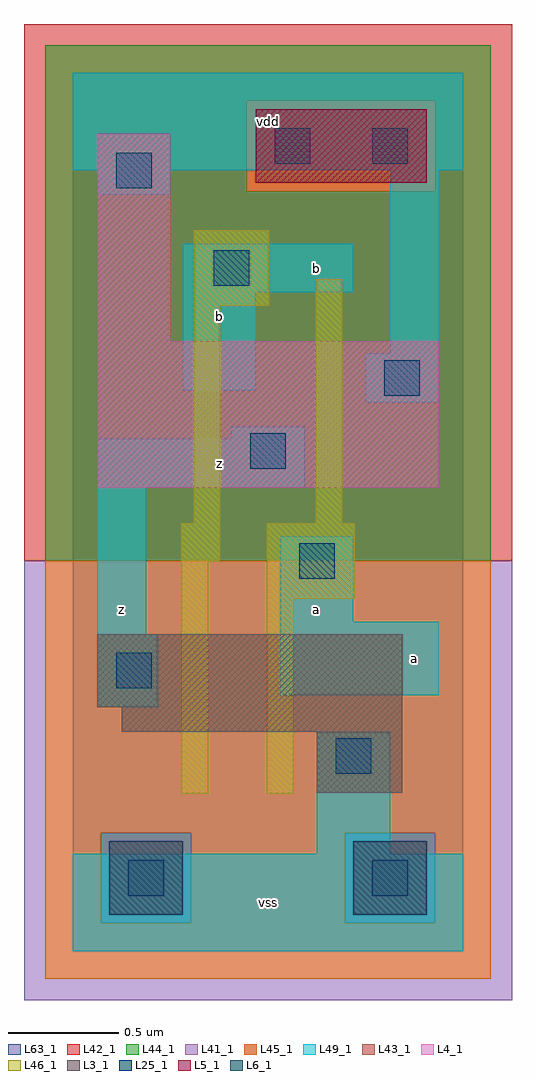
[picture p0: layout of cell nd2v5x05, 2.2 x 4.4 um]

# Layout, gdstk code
import gdstk
lib = gdstk.Library(unit=1e-6, precision=1e-09)
def R(c, l, rs):  # rectangles x0, y0, x1, y1
    for r in rs: c.add(gdstk.rectangle(r[:2], r[2:], *l))
L3_1 = (3, 1)
L4_1 = (4, 1)
L5_1 = (5, 1)
L6_1 = (6, 1)
L25_1 = (25, 1)
L41_1 = (41, 1)
L42_1 = (42, 1)
L43_1 = (43, 1)
L44_1 = (44, 1)
L45_1 = (45, 1)
L46_1 = (46, 1)
L49_1 = (49, 1)
L63_1 = (63, 1)

nd2v5x05 = lib.new_cell('nd2v5x05')
R(nd2v5x05, L3_1, [(1.1,0.715,1.485,0.99), (0.22,0.99,1.485,1.1), (0.11,1.1,1.485,1.43)])
R(nd2v5x05, L4_1, [(0.11,2.09,1.65,2.75), (0.11,2.75,0.44,3.685)])
R(nd2v5x05, L5_1, [(0.825,3.465,1.595,3.795)])
R(nd2v5x05, L6_1, [(0.165,0.165,0.495,0.495), (1.265,0.165,1.595,0.495)])
R(nd2v5x05, L25_1, [(0.25,0.25,0.41,0.41), (1.35,0.25,1.51,0.41), (1.185,0.8,1.345,0.96), (0.195,1.185,0.355,1.345), (1.02,1.68,1.18,1.84), (0.8,2.175,0.96,2.335), (1.405,2.505,1.565,2.665), (0.635,3,0.795,3.16), (0.195,3.44,0.355,3.6), (0.91,3.55,1.07,3.71), (1.35,3.55,1.51,3.71)])
R(nd2v5x05, L41_1, [(-0.22,-0.22,1.98,1.76)])
R(nd2v5x05, L42_1, [(-0.22,1.76,1.98,4.18)])
R(nd2v5x05, L43_1, [(0.165,0.165,0.495,0.495), (1.265,0.165,1.595,0.495), (1.1,0.715,1.485,0.99), (0.22,0.99,1.485,1.1), (0.11,1.1,1.485,1.43), (0.11,2.09,1.65,2.75), (0.11,2.75,0.44,3.685), (0.825,3.465,1.595,3.795)])
R(nd2v5x05, L44_1, [(0.125,0.125,0.535,0.535), (1.225,0.125,1.635,0.535), (-0.125,1.76,1.885,3.425), (-0.125,3.425,0.785,3.835), (1.635,3.425,1.885,3.835), (-0.125,3.835,1.885,4.085)])
R(nd2v5x05, L45_1, [(-0.125,-0.125,1.885,0.125), (-0.125,0.125,0.125,0.535), (0.535,0.125,1.225,0.535), (1.635,0.125,1.885,0.535), (-0.125,0.535,1.885,1.76), (0.785,3.425,1.635,3.835)])
R(nd2v5x05, L46_1, [(0.49,0.71,0.61,1.755), (0.875,0.71,0.995,1.59), (0.875,1.59,1.27,1.93), (0.49,1.755,0.665,1.93), (0.545,1.93,0.665,2.91), (1.095,1.93,1.215,3.03), (0.545,2.91,0.885,3.25)])
R(nd2v5x05, L49_1, [(0,0,1.76,0.44), (1.1,0.44,1.43,0.99), (0.11,1.1,0.385,1.43), (0.935,1.155,1.65,1.485), (0.11,1.43,0.33,2.09), (0.935,1.485,1.265,1.87), (0.11,2.09,1.045,2.31), (0.715,2.31,1.045,2.365), (1.32,2.475,1.65,2.695), (0.495,2.53,0.825,2.97), (1.43,2.695,1.65,3.52), (0.495,2.97,1.265,3.19), (0.11,3.41,0.44,3.52), (0,3.52,1.76,3.96)])
R(nd2v5x05, L63_1, [(0,0,1.76,3.96)])
nd2v5x05.add(gdstk.Label('z', (0.22,1.54), layer=49, texttype=1))
nd2v5x05.add(gdstk.Label('z', (0.66,2.2), layer=49, texttype=1))
nd2v5x05.add(gdstk.Label('b', (0.66,2.86), layer=49, texttype=1))
nd2v5x05.add(gdstk.Label('vss', (0.88,0.22), layer=49, texttype=1))
nd2v5x05.add(gdstk.Label('a', (1.1,1.54), layer=49, texttype=1))
nd2v5x05.add(gdstk.Label('b', (1.1,3.08), layer=49, texttype=1))
nd2v5x05.add(gdstk.Label('vdd', (0.88,3.74), layer=49, texttype=1))
nd2v5x05.add(gdstk.Label('a', (1.54,1.32), layer=49, texttype=1))

lib.write_gds('nd2v5x05.gds')
